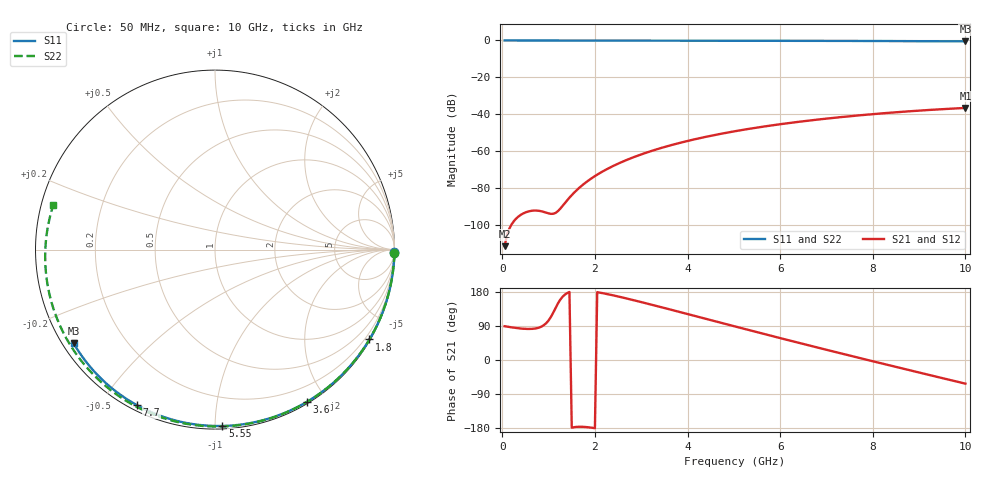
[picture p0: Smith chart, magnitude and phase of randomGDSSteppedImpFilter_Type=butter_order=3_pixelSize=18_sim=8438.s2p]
! freq	dB(S11)	phase(S11)	dB(S12)	phase(S12)
!  dB(S21)	phase(S21)	dB(S22)	phase(S22)
!S-par simulation data
#  GHz  S  DB  R 50
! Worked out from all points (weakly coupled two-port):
!   200 points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, 50 MHz to 10 GHz, reference 50 ohm
!   highest |S21| = -36.64 dB at 10 GHz (marker M1); lowest = -111.7 dB at 50 MHz (marker M2)
!   lowest |S11| = -0.5 dB at 10 GHz (marker M3), VSWR 35.13, Z = 1.55 - j15.1 ohm
!   |S11| at or under -10 dB: nowhere
!   |S22| runs from -0.6 to 0.0 dB; largest |S21 - S12| = 0
!   S11 on the Smith chart (normalised r, x): 50 MHz: open; 1.8 GHz: 0.03, -3.71; 3.6 GHz: 0.02, -1.77; 5.55 GHz: 0.02, -1.04; 7.7 GHz: 0.02, -0.62; 10 GHz: 0.03, -0.30
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0.05  -0.00 -0.9  -111.66 89.1  -111.66 89.1  -0.00 -1.2
0.4  -0.01 -6.8  -94.64 83.1  -94.64 83.1  -0.01 -9.3
0.8  -0.02 -13.5  -92.50 85.8  -92.50 85.8  -0.02 -18.5
1.2  -0.03 -20.3  -92.67 148.9  -92.67 148.9  -0.04 -27.7
1.65  -0.04 -27.7  -80.25 -176.2  -80.25 -176.2  -0.05 -37.8
1.75  -0.04 -29.4  -78.12 -176.4  -78.12 -176.4  -0.05 -40.0
1.8  -0.04 -30.2  -77.14 -176.8  -77.14 -176.8  -0.05 -41.1
2.1  -0.04 -35.1  -72.08 178.0  -72.08 178.0  -0.06 -47.7
2.5  -0.05 -41.6  -66.88 167.7  -66.88 167.7  -0.07 -56.3
2.9  -0.06 -47.9  -62.76 155.9  -62.76 155.9  -0.08 -64.8
3.4  -0.07 -55.8  -58.59 140.4  -58.59 140.4  -0.10 -75.1
3.6  -0.08 -58.8  -57.15 134.1  -57.15 134.1  -0.10 -79.1
4.3  -0.10 -69.4  -52.83 111.7  -52.83 111.7  -0.13 -92.9
5.05  -0.12 -80.5  -49.15 87.8  -49.15 87.8  -0.16 -107.0
5.55  -0.14 -87.6  -47.10 71.9  -47.10 71.9  -0.19 -116.2
6.1  -0.17 -95.3  -45.13 54.7  -45.13 54.7  -0.22 -126.1
6.7  -0.20 -103.5  -43.26 36.1  -43.26 36.1  -0.26 -136.7
7.2  -0.23 -110.2  -41.89 20.8  -41.89 20.8  -0.30 -145.4
7.7  -0.27 -116.8  -40.67 5.7  -40.67 5.7  -0.34 -154.1
8.35  -0.32 -125.2  -39.27 -13.7  -39.27 -13.7  -0.40 -165.5
9.2  -0.40 -136.2  -37.75 -38.9  -37.75 -38.9  -0.49 179.3
10  -0.49 -146.4  -36.64 -62.4  -36.64 -62.4  -0.59 164.5
